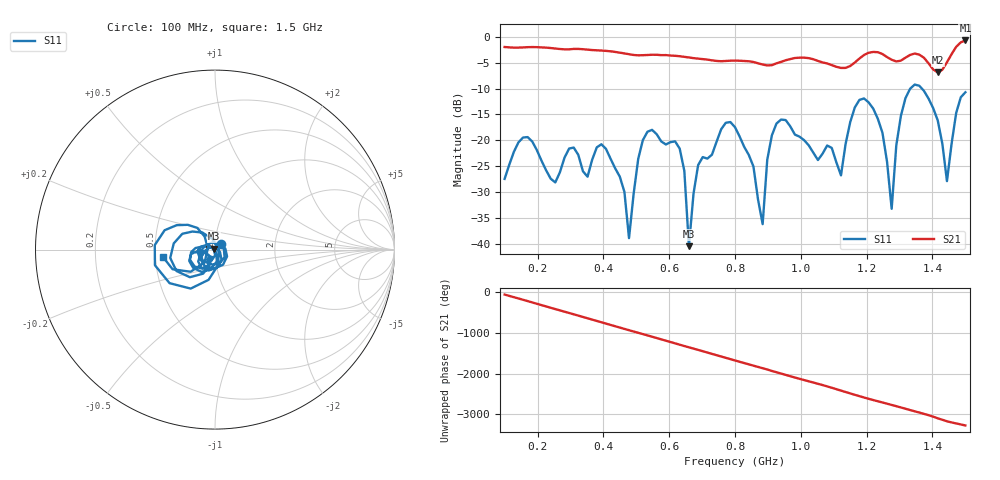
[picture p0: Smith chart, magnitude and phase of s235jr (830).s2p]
! NanoVNA-App
! Date: 2025-09-25 15:10:38
! Start: 100MHz Stop: 1,5GHz Points: 101
! S-Parameter data: F S11 S21 S12 S22
# Hz S RI R 50
!  Frequency  S11_Real  S11_Imag  S21_Real  S21_Imag  S12_Real  S12_Imag  S22_Real  S22_Imag
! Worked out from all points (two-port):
!   101 points, 100 MHz to 1.5 GHz, reference 50 ohm
!   highest |S21| = -0.70 dB at 1.5 GHz (marker M1); lowest = -6.9 dB at 1.416 GHz (marker M2)
!   |S21| within 3 dB of the highest: start of sweep to 623.9 MHz; 1.188 GHz to 1.257 GHz (68.73 MHz wide, 5.62 % of centre) (the widest 2 of 4)
!   lowest |S11| = -40.5 dB at 660 MHz (marker M3), VSWR 1.02, Z = 49.2 + j0.529 ohm
!   |S11| at or under -10 dB: start of sweep to 1.333 GHz; 1.368 GHz to end of sweep
!   S12 and S22 are empty: the file has one direction only
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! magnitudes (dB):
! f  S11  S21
! 100 MHz  -27.5  -2.0
! 156 MHz  -19.5  -2.0
! 338 MHz  -26.0  -2.4
! 408 MHz  -21.7  -2.7
! 478 MHz  -38.9  -3.4
! 520 MHz  -20.0  -3.6
! 576 MHz  -20.2  -3.5
! 632 MHz  -21.6  -3.7
! 660 MHz  -40.5  -4.0
! 688 MHz  -24.8  -4.2
! 800 MHz  -17.5  -4.6
! 884 MHz  -36.2  -5.4
! 926 MHz  -16.8  -5.1
! 1.038 GHz  -22.4  -4.3
! 1.122 GHz  -26.8  -6.0
! 1.192 GHz  -11.9  -3.5
! 1.248 GHz  -18.5  -3.3
! 1.276 GHz  -33.2  -4.4
! 1.332 GHz  -10.0  -3.5
! 1.416 GHz  -16.2  -6.9
! 1.444 GHz  -27.9  -4.9
! 1.5 GHz  -10.7  -0.7
